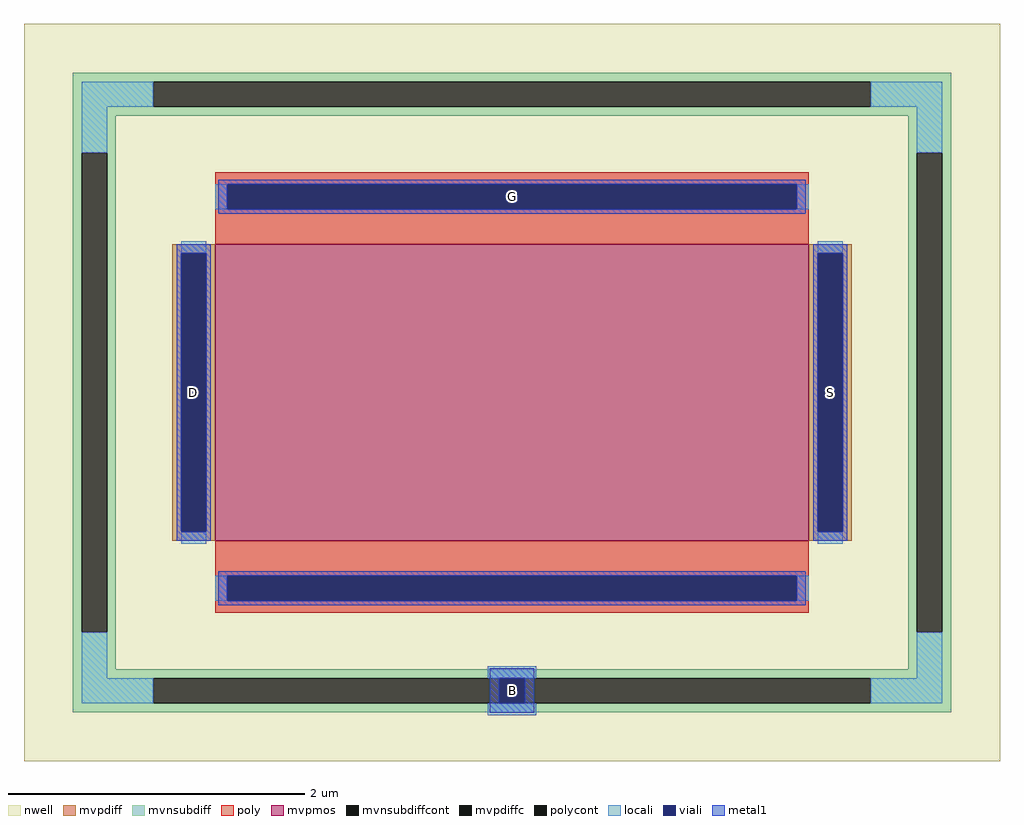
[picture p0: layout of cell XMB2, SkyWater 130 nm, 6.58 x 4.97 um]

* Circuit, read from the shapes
.subckt XMB2 B D S G
XM1 S G D B sky130_fd_pr__pfet_g5v0d10v5 w=2 l=4
.ends

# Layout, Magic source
magic
tech sky130A
magscale 1 2
<< nwell >>
rect -658 -497 658 497
<< mvpmos >>
rect -400 -200 400 200
<< mvpdiff >>
rect -458 188 -400 200
rect -458 -188 -446 188
rect -412 -188 -400 188
rect -458 -200 -400 -188
rect 400 188 458 200
rect 400 -188 412 188
rect 446 -188 458 188
rect 400 -200 458 -188
<< mvpdiffc >>
rect -446 -188 -412 188
rect 412 -188 446 188
<< mvnsubdiff >>
rect -592 419 592 431
rect -592 385 -484 419
rect 484 385 592 419
rect -592 373 592 385
rect -592 323 -534 373
rect -592 -323 -580 323
rect -546 -323 -534 323
rect 534 323 592 373
rect -592 -373 -534 -323
rect 534 -323 546 323
rect 580 -323 592 323
rect 534 -373 592 -323
rect -592 -385 592 -373
rect -592 -419 -484 -385
rect 484 -419 592 -385
rect -592 -431 592 -419
<< mvnsubdiffcont >>
rect -484 385 484 419
rect -580 -323 -546 323
rect 546 -323 580 323
rect -484 -419 484 -385
<< poly >>
rect -400 281 400 297
rect -400 247 -384 281
rect 384 247 400 281
rect -400 200 400 247
rect -400 -247 400 -200
rect -400 -281 -384 -247
rect 384 -281 400 -247
rect -400 -297 400 -281
<< polycont >>
rect -384 247 384 281
rect -384 -281 384 -247
<< locali >>
rect -580 385 -484 419
rect 484 385 580 419
rect -580 323 -546 385
rect 546 323 580 385
rect -400 247 -384 281
rect 384 247 400 281
rect -446 188 -412 204
rect -446 -204 -412 -188
rect 412 188 446 204
rect 412 -204 446 -188
rect -400 -281 -384 -247
rect 384 -281 400 -247
rect -580 -385 -546 -323
rect -33 -385 33 -369
rect 546 -385 580 -323
rect -580 -419 -484 -385
rect 484 -419 580 -385
rect -33 -435 33 -419
<< viali >>
rect -384 247 384 281
rect -446 -188 -412 188
rect 412 -188 446 188
rect -384 -281 384 -247
rect -17 -419 17 -385
<< metal1 >>
rect -396 281 396 287
rect -396 247 -384 281
rect 384 247 396 281
rect -396 241 396 247
rect -452 188 -406 200
rect -452 -188 -446 188
rect -412 -188 -406 188
rect -452 -200 -406 -188
rect 406 188 452 200
rect 406 -188 412 188
rect 446 -188 452 188
rect 406 -200 452 -188
rect -396 -247 396 -241
rect -396 -281 -384 -247
rect 384 -281 396 -247
rect -396 -287 396 -281
rect -30 -385 30 -372
rect -30 -419 -17 -385
rect 17 -419 30 -385
rect -30 -432 30 -419
<< labels >>
rlabel mvnsubdiffcont 0 -402 0 -402 0 B
port 4 nsew
rlabel mvpdiffc -429 0 -429 0 0 D
port 5 nsew
rlabel mvpdiffc 429 0 429 0 0 S
port 6 nsew
rlabel polycont 0 264 0 264 0 G
port 7 nsew
<< properties >>
string FIXED_BBOX -563 -402 563 402
<< end >>
